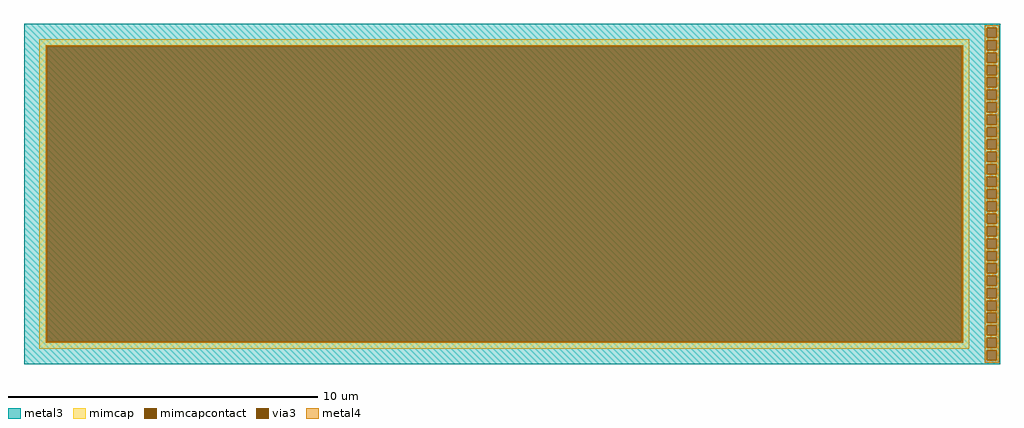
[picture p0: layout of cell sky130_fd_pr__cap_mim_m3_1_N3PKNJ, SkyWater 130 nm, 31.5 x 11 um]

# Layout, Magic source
magic
tech sky130A
magscale 1 2
<< metal3 >>
rect -3150 1072 3149 1100
rect -3150 1008 3065 1072
rect 3129 1008 3149 1072
rect -3150 992 3149 1008
rect -3150 928 3065 992
rect 3129 928 3149 992
rect -3150 912 3149 928
rect -3150 848 3065 912
rect 3129 848 3149 912
rect -3150 832 3149 848
rect -3150 768 3065 832
rect 3129 768 3149 832
rect -3150 752 3149 768
rect -3150 688 3065 752
rect 3129 688 3149 752
rect -3150 672 3149 688
rect -3150 608 3065 672
rect 3129 608 3149 672
rect -3150 592 3149 608
rect -3150 528 3065 592
rect 3129 528 3149 592
rect -3150 512 3149 528
rect -3150 448 3065 512
rect 3129 448 3149 512
rect -3150 432 3149 448
rect -3150 368 3065 432
rect 3129 368 3149 432
rect -3150 352 3149 368
rect -3150 288 3065 352
rect 3129 288 3149 352
rect -3150 272 3149 288
rect -3150 208 3065 272
rect 3129 208 3149 272
rect -3150 192 3149 208
rect -3150 128 3065 192
rect 3129 128 3149 192
rect -3150 112 3149 128
rect -3150 48 3065 112
rect 3129 48 3149 112
rect -3150 32 3149 48
rect -3150 -32 3065 32
rect 3129 -32 3149 32
rect -3150 -48 3149 -32
rect -3150 -112 3065 -48
rect 3129 -112 3149 -48
rect -3150 -128 3149 -112
rect -3150 -192 3065 -128
rect 3129 -192 3149 -128
rect -3150 -208 3149 -192
rect -3150 -272 3065 -208
rect 3129 -272 3149 -208
rect -3150 -288 3149 -272
rect -3150 -352 3065 -288
rect 3129 -352 3149 -288
rect -3150 -368 3149 -352
rect -3150 -432 3065 -368
rect 3129 -432 3149 -368
rect -3150 -448 3149 -432
rect -3150 -512 3065 -448
rect 3129 -512 3149 -448
rect -3150 -528 3149 -512
rect -3150 -592 3065 -528
rect 3129 -592 3149 -528
rect -3150 -608 3149 -592
rect -3150 -672 3065 -608
rect 3129 -672 3149 -608
rect -3150 -688 3149 -672
rect -3150 -752 3065 -688
rect 3129 -752 3149 -688
rect -3150 -768 3149 -752
rect -3150 -832 3065 -768
rect 3129 -832 3149 -768
rect -3150 -848 3149 -832
rect -3150 -912 3065 -848
rect 3129 -912 3149 -848
rect -3150 -928 3149 -912
rect -3150 -992 3065 -928
rect 3129 -992 3149 -928
rect -3150 -1008 3149 -992
rect -3150 -1072 3065 -1008
rect 3129 -1072 3149 -1008
rect -3150 -1100 3149 -1072
<< via3 >>
rect 3065 1008 3129 1072
rect 3065 928 3129 992
rect 3065 848 3129 912
rect 3065 768 3129 832
rect 3065 688 3129 752
rect 3065 608 3129 672
rect 3065 528 3129 592
rect 3065 448 3129 512
rect 3065 368 3129 432
rect 3065 288 3129 352
rect 3065 208 3129 272
rect 3065 128 3129 192
rect 3065 48 3129 112
rect 3065 -32 3129 32
rect 3065 -112 3129 -48
rect 3065 -192 3129 -128
rect 3065 -272 3129 -208
rect 3065 -352 3129 -288
rect 3065 -432 3129 -368
rect 3065 -512 3129 -448
rect 3065 -592 3129 -528
rect 3065 -672 3129 -608
rect 3065 -752 3129 -688
rect 3065 -832 3129 -768
rect 3065 -912 3129 -848
rect 3065 -992 3129 -928
rect 3065 -1072 3129 -1008
<< mimcap >>
rect -3050 952 2950 1000
rect -3050 -952 -3002 952
rect 2902 -952 2950 952
rect -3050 -1000 2950 -952
<< mimcapcontact >>
rect -3002 -952 2902 952
<< metal4 >>
rect 3049 1072 3145 1088
rect 3049 1008 3065 1072
rect 3129 1008 3145 1072
rect 3049 992 3145 1008
rect -3011 952 2911 961
rect -3011 -952 -3002 952
rect 2902 -952 2911 952
rect -3011 -961 2911 -952
rect 3049 928 3065 992
rect 3129 928 3145 992
rect 3049 912 3145 928
rect 3049 848 3065 912
rect 3129 848 3145 912
rect 3049 832 3145 848
rect 3049 768 3065 832
rect 3129 768 3145 832
rect 3049 752 3145 768
rect 3049 688 3065 752
rect 3129 688 3145 752
rect 3049 672 3145 688
rect 3049 608 3065 672
rect 3129 608 3145 672
rect 3049 592 3145 608
rect 3049 528 3065 592
rect 3129 528 3145 592
rect 3049 512 3145 528
rect 3049 448 3065 512
rect 3129 448 3145 512
rect 3049 432 3145 448
rect 3049 368 3065 432
rect 3129 368 3145 432
rect 3049 352 3145 368
rect 3049 288 3065 352
rect 3129 288 3145 352
rect 3049 272 3145 288
rect 3049 208 3065 272
rect 3129 208 3145 272
rect 3049 192 3145 208
rect 3049 128 3065 192
rect 3129 128 3145 192
rect 3049 112 3145 128
rect 3049 48 3065 112
rect 3129 48 3145 112
rect 3049 32 3145 48
rect 3049 -32 3065 32
rect 3129 -32 3145 32
rect 3049 -48 3145 -32
rect 3049 -112 3065 -48
rect 3129 -112 3145 -48
rect 3049 -128 3145 -112
rect 3049 -192 3065 -128
rect 3129 -192 3145 -128
rect 3049 -208 3145 -192
rect 3049 -272 3065 -208
rect 3129 -272 3145 -208
rect 3049 -288 3145 -272
rect 3049 -352 3065 -288
rect 3129 -352 3145 -288
rect 3049 -368 3145 -352
rect 3049 -432 3065 -368
rect 3129 -432 3145 -368
rect 3049 -448 3145 -432
rect 3049 -512 3065 -448
rect 3129 -512 3145 -448
rect 3049 -528 3145 -512
rect 3049 -592 3065 -528
rect 3129 -592 3145 -528
rect 3049 -608 3145 -592
rect 3049 -672 3065 -608
rect 3129 -672 3145 -608
rect 3049 -688 3145 -672
rect 3049 -752 3065 -688
rect 3129 -752 3145 -688
rect 3049 -768 3145 -752
rect 3049 -832 3065 -768
rect 3129 -832 3145 -768
rect 3049 -848 3145 -832
rect 3049 -912 3065 -848
rect 3129 -912 3145 -848
rect 3049 -928 3145 -912
rect 3049 -992 3065 -928
rect 3129 -992 3145 -928
rect 3049 -1008 3145 -992
rect 3049 -1072 3065 -1008
rect 3129 -1072 3145 -1008
rect 3049 -1088 3145 -1072
<< properties >>
string FIXED_BBOX -3150 -1100 3050 1100
<< end >>
